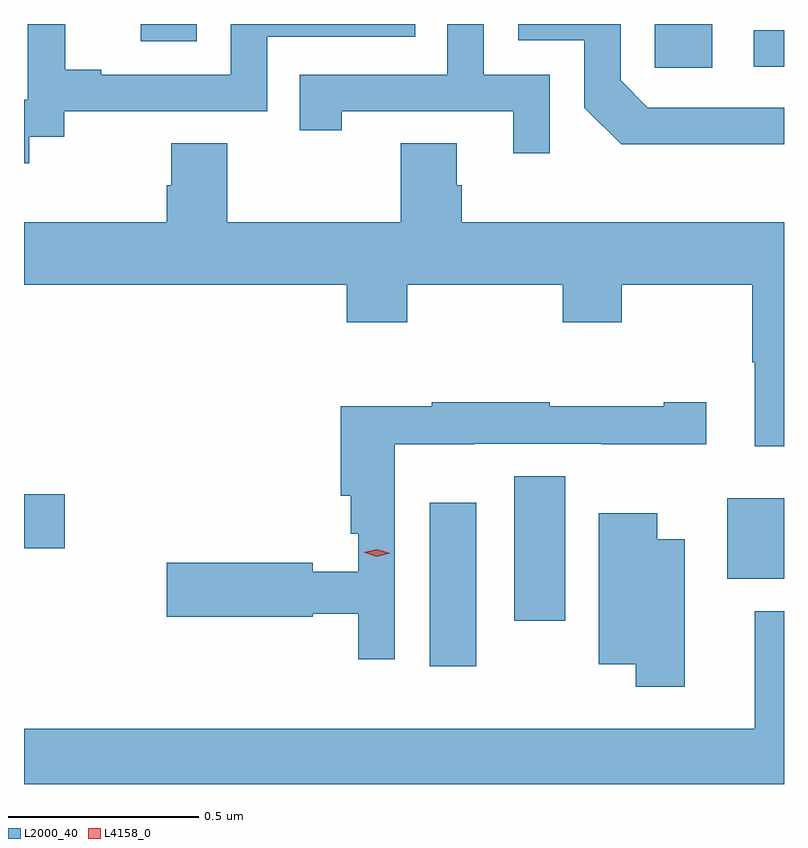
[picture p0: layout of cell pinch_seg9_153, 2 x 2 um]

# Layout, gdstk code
import gdstk
lib = gdstk.Library(unit=1e-6, precision=1e-09)
def R(c, l, rs):  # rectangles x0, y0, x1, y1
    for r in rs: c.add(gdstk.rectangle(r[:2], r[2:], *l))
def P(c, l, *ps):  # polygons
    for p in ps: c.add(gdstk.Polygon(p, *l))
L2000_40 = (2000, 40)
L4158_0 = (4158, 0)

pinch_seg9_153 = lib.new_cell('pinch_seg9_153')
R(pinch_seg9_153, L2000_40, [(735.902,1232.712,736.024,1233.142), (736.124,1232.832,736.258,1233.212), (736.685,1232.942,736.834,1233.154), (734.834,1233.022,734.941,1233.164), (736.494,1234.287,736.645,1234.402), (736.755,1234.29,736.834,1234.386), (735.141,1234.356,735.288,1234.402)])
P(pinch_seg9_153, L2000_40, [(734.848,1234.105),(734.94,1234.105),(734.94,1234.173),(735.474,1234.173),(735.474,1234.368),(735.863,1234.368),(735.863,1234.402),(735.378,1234.402),(735.378,1234.269),(735.037,1234.269),(735.037,1234.282),(734.942,1234.282),(734.942,1234.402),(734.844,1234.402),(734.844,1234.203),(734.834,1234.203),(734.834,1234.035),(734.848,1234.035)],
  [(736.218,1234.269),(736.044,1234.269),(736.044,1234.402),(735.948,1234.402),(735.948,1234.269),(735.559,1234.269),(735.559,1234.122),(735.67,1234.122),(735.67,1234.173),(736.121,1234.173),(736.121,1234.062),(736.218,1234.062)],
  [(736.814,1234.086),(736.834,1234.086),(736.834,1234.182),(736.476,1234.182),(736.404,1234.254),(736.404,1234.402),(736.134,1234.402),(736.134,1234.359),(736.308,1234.359),(736.308,1234.182),(736.406,1234.085),(736.814,1234.085)],
  [(736.834,1233.88),(735.986,1233.88),(735.986,1233.978),(735.973,1233.978),(735.973,1234.088),(735.826,1234.088),(735.826,1233.88),(735.369,1233.88),(735.369,1234.088),(735.221,1234.088),(735.221,1233.978),(735.209,1233.978),(735.209,1233.88),(734.834,1233.88),(734.834,1233.716),(735.683,1233.716),(735.683,1233.617),(735.843,1233.617),(735.843,1233.716),(736.252,1233.716),(736.252,1233.617),(736.407,1233.617),(736.407,1233.716),(736.75,1233.716),(736.75,1233.512),(736.757,1233.512),(736.757,1233.291),(736.834,1233.291)],
  [(735.81,1233.296),(736.02,1233.296),(736.02,1233.297),(736.354,1233.297),(736.354,1233.296),(736.63,1233.296),(736.63,1233.406),(736.517,1233.406),(736.517,1233.396),(736.217,1233.396),(736.217,1233.406),(735.907,1233.406),(735.907,1233.396),(735.668,1233.396),(735.668,1233.161),(735.694,1233.161),(735.694,1233.06),(735.714,1233.06),(735.714,1232.96),(735.594,1232.96),(735.594,1232.984),(735.21,1232.984),(735.21,1232.842),(735.594,1232.842),(735.594,1232.85),(735.714,1232.85),(735.714,1232.73),(735.81,1232.73)],
  [(736.573,1233.046),(736.501,1233.046),(736.501,1233.115),(736.346,1233.115),(736.346,1232.717),(736.444,1232.717),(736.444,1232.658),(736.573,1232.658)],
  [(736.834,1232.857),(736.757,1232.857),(736.757,1232.548),(734.834,1232.548),(734.834,1232.402),(736.834,1232.402)])
P(pinch_seg9_153, L4158_0, [(735.762,1233),(735.728,1233.012),(735.728,1233.012),(735.728,1233.012),(735.763,1233.02),(735.798,1233.009),(735.798,1233.009),(735.798,1233.009)])

lib.write_gds('pinch_seg9_153.gds')
